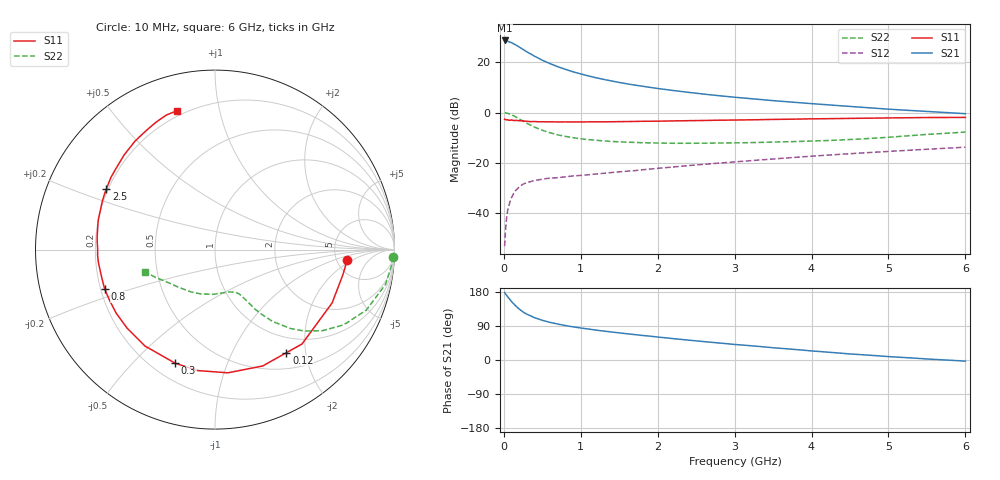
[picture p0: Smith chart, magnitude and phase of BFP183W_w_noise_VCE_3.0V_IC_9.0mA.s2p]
! Infineon Technologies  Discrete & RF Semiconductors
! BFP183W
! VCE =  3.0 V,  IC =  9.0 mA
! Common Emitter S-Parameters:  Jan 2017
# GHz  S  MA  R  50
!  f  S11  S21  S12  S22
! GHz  MAG  ANG  MAG  ANG  MAG  ANG  MAG  ANG
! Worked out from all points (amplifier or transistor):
!   77 points, 10 MHz to 6 GHz, reference 50 ohm
!   highest |S21| = 28.7 dB at 10 MHz (marker M1)
!   |S21| within 3 dB of that: start of sweep to 219.5 MHz
!   unconditionally stable (mu >= 1): 1.663 GHz to 4.072 GHz
!   at 130 MHz: K = 0.13, MSG = 29.7 dB, |S12| = -32.1 dB
!   at 2.2 GHz: K = 1.06, MAG = 13.7 dB, |S12| = -21.6 dB
!   at 6 GHz: K = 0.87, MSG = 6.7 dB, |S12| = -13.8 dB
!   lowest NFmin = 0.90 dB at 450 MHz
!   S11 on the Smith chart (normalised r, x): 10 MHz: 6.29, -1.54; 120 MHz: 0.74, -1.66; 300 MHz: 0.29, -0.67; 800 MHz: 0.22, -0.16; 2.5 GHz: 0.19, +0.25; 6 GHz: 0.17, +0.75
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0.01  0.7395 -4.3  27.22 178.2  0.0022 84.2  0.9933 -2.3
0.02  0.7263 -11.1  26.93 174.6  0.0042 89.6  0.9892 -4.7
0.05  0.717 -24.5  26.32 166.7  0.0114 80.0  0.9701 -11.4
0.1  0.7152 -47.3  24.61 154.2  0.0204 68.1  0.908 -21.8
0.12  0.6987 -55.3  23.64 150.2  0.0233 64.4  0.8743 -25.1
0.15  0.7007 -67.7  22.41 143.5  0.0278 60.3  0.8296 -30.4
0.2  0.6902 -84.0  20.12 134.3  0.0331 53.4  0.7494 -37.1
0.25  0.6809 -98.1  18.02 126.7  0.0377 48.3  0.676 -42.2
0.3  0.6707 -109.3  16.11 120.7  0.0406 44.2  0.6114 -46.1
0.4  0.664 -126.0  13.2 111.4  0.0445 39.7  0.5129 -51.3
0.5  0.6568 -138.1  11.01 104.7  0.0473 37.1  0.4448 -54.2
0.6  0.6547 -147.2  9.423 99.3  0.0498 36.1  0.3967 -56.2
0.8  0.6527 -160.4  7.25 90.9  0.0528 36.6  0.3362 -58.3
0.9  0.6501 -165.5  6.475 87.5  0.0549 36.9  0.3164 -59.2
1.1  0.6534 -173.6  5.364 81.7  0.058 38.5  0.2905 -60.7
1.5  0.6605 173.8  3.976 71.6  0.0663 41.6  0.2619 -65.1
2.1  0.6783 159.1  2.882 58.6  0.0802 45.6  0.2464 -75.4
2.5  0.693 150.9  2.428 50.5  0.0908 46.9  0.2454 -84.5
3.1  0.7137 140.2  1.958 39.5  0.1074 47.5  0.251 -98.5
4.1  0.7532 125.1  1.469 22.5  0.1389 45.9  0.2746 -123.1
5.1  0.7854 113.6  1.145 7.8  0.1722 42.1  0.3313 -148.0
6  0.8023 105.3  0.951 -3.1  0.2047 37.1  0.4092 -162.5
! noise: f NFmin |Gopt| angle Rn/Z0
0.45  0.9  0.11  89  0.11
0.9  0.95  0.18  132  0.1
1.9  1.46  0.37  179  0.07
2.4  1.71  0.44  -170  0.09
